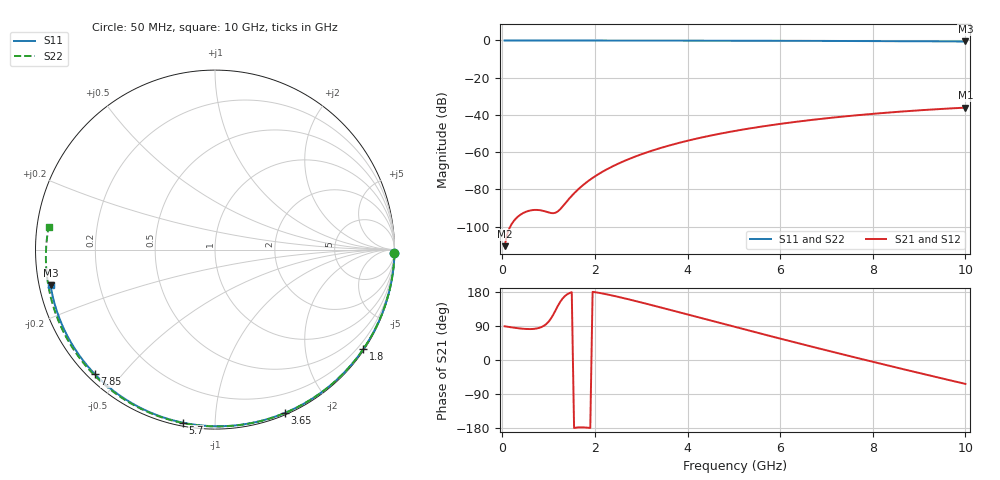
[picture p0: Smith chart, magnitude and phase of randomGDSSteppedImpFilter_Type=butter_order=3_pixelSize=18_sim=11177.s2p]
! freq	dB(S11)	phase(S11)	dB(S12)	phase(S12)
!  dB(S21)	phase(S21)	dB(S22)	phase(S22)
!S-par simulation data
#  GHz  S  DB  R 50
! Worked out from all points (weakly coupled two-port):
!   200 points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, 50 MHz to 10 GHz, reference 50 ohm
!   highest |S21| = -36.09 dB at 10 GHz (marker M1); lowest = -110.5 dB at 50 MHz (marker M2)
!   lowest |S11| = -0.6 dB at 10 GHz (marker M3), VSWR 31.04, Z = 1.63 - j5.35 ohm
!   |S11| at or under -10 dB: nowhere
!   |S22| runs from -0.6 to 0.0 dB; largest |S21 - S12| = 0
!   S11 on the Smith chart (normalised r, x): 50 MHz: open; 1.8 GHz: 0.03, -3.28; 3.65 GHz: 0.02, -1.52; 5.7 GHz: 0.02, -0.83; 7.85 GHz: 0.02, -0.43; 10 GHz: 0.03, -0.11
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0.05  -0.00 -1.0  -110.52 89.0  -110.52 89.0  -0.00 -1.1
0.4  -0.01 -7.7  -93.47 83.0  -93.47 83.0  -0.01 -8.9
0.8  -0.02 -15.2  -91.15 84.9  -91.15 84.9  -0.02 -17.7
1.2  -0.03 -22.8  -91.82 142.8  -91.82 142.8  -0.03 -26.4
1.6  -0.04 -30.2  -80.90 -178.4  -80.90 -178.4  -0.04 -35.0
1.65  -0.04 -31.1  -79.72 -177.9  -79.72 -177.9  -0.05 -36.1
1.75  -0.04 -33.0  -77.57 -177.8  -77.57 -177.8  -0.05 -38.2
1.8  -0.04 -33.9  -76.57 -178.1  -76.57 -178.1  -0.05 -39.2
2.1  -0.05 -39.4  -71.47 177.0  -71.47 177.0  -0.06 -45.5
2.5  -0.06 -46.6  -66.23 166.7  -66.23 166.7  -0.07 -53.8
2.9  -0.07 -53.7  -62.09 155.0  -62.09 155.0  -0.08 -61.9
3.4  -0.08 -62.5  -57.91 139.4  -57.91 139.4  -0.09 -71.8
3.65  -0.09 -66.8  -56.12 131.4  -56.12 131.4  -0.10 -76.7
4.35  -0.11 -78.7  -51.88 108.9  -51.88 108.9  -0.13 -89.9
5.05  -0.14 -90.2  -48.49 86.5  -48.49 86.5  -0.16 -102.7
5.7  -0.17 -100.6  -45.89 65.9  -45.89 65.9  -0.19 -114.1
6.7  -0.23 -116.2  -42.64 34.7  -42.64 34.7  -0.25 -131.3
7.3  -0.27 -125.5  -41.03 16.3  -41.03 16.3  -0.30 -141.4
7.85  -0.32 -133.9  -39.75 -0.2  -39.75 -0.2  -0.34 -150.6
8.35  -0.36 -141.6  -38.71 -15.1  -38.71 -15.1  -0.39 -159.0
9.2  -0.46 -154.9  -37.22 -40.1  -37.22 -40.1  -0.48 -173.5
10  -0.56 -167.8  -36.09 -63.1  -36.09 -63.1  -0.58 172.4
